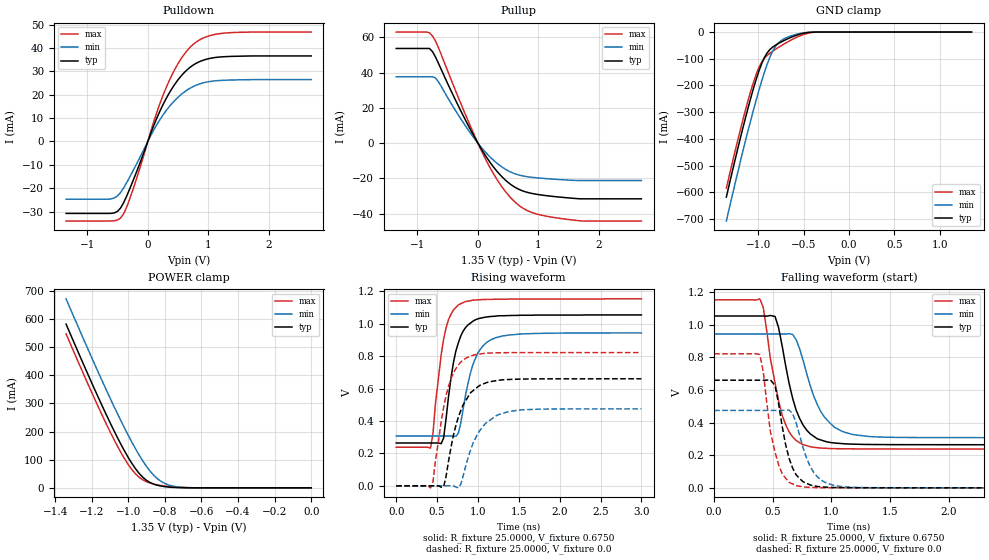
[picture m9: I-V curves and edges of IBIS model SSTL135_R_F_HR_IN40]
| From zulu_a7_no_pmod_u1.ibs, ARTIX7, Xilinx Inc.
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[Model]  SSTL135_R_F_HR_IN40
Model_type I/O
Polarity   Non-Inverting
Enable   Active-Low
Vinl = 0.525
Vinh = 0.825
Vmeas =  0.6750V
Cref =   0.0F
Rref =   25.0000
Vref =   0.6750V
C_comp   7.6500pF   7.4800pF   7.7300pF
[Model Spec]
Vinl   0.585   0.55125   0.61875
Vinh   0.765   0.73125   0.79875
[Temperature Range]   25.0000   85.0000   0.0
[Voltage Range]   1.3500V   1.2825V   1.4175V
[Add Submodel]
| Submodel Name   Mode
IN40_1V35   Non-Driving
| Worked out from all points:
|   slope of the pulldown table from 0 to 0.203 V, typ, clamps not added: 15.4 ohm
|   slope of the pullup table from 0 to 0.203 V, typ, clamps not added: 18.4 ohm
|   GND clamp passes 1 mA (typ) near -0.42 V on its own axis
|   POWER clamp passes 1 mA (typ) near -0.73 V on its own axis
|   rising waveform, R_fixture 25.0000, V_fixture 0.6750: 20-80 % time 158ps typ, 190ps min, 142ps max; typ from 0.264 V to 1.05 V
|   rising waveform, R_fixture 25.0000, V_fixture 0.0: 20-80 % time 220ps typ, 246ps min, 185ps max; typ from 0 V to 0.66 V
|   falling waveform, R_fixture 25.0000, V_fixture 0.6750: 20-80 % time 159ps typ, 195ps min, 145ps max; typ from 1.05 V to 0.264 V
|   falling waveform, R_fixture 25.0000, V_fixture 0.0: 20-80 % time 117ps typ, 142ps min, 113ps max; typ from 0.66 V to 0 V
[Pulldown]
|Voltage   I(typ)   I(min)   I(max)
-1.35V    -30.79mA   -24.69mA   -34.04mA
-600mV    -30.75mA   -24.54mA   -34.02mA
-450mV    -28.49mA   -21.86mA   -32.77mA
-400mV    -26.24mA   -19.93mA   -30.98mA
-300mV    -20.38mA   -15.29mA   -24.68mA
100mV     6.928mA    4.99mA     8.617mA
300mV     18.22mA    13.09mA    22.83mA
550mV     28mA       20.09mA    35.42mA
800mV     33.47mA    24.08mA    42.56mA
1V        35.39mA    25.56mA    45.08mA
1.25V     36.25mA    26.18mA    46.34mA
2.7V      36.6mA     26.46mA    46.83mA
[Pullup]
|Voltage   I(typ)   I(min)   I(max)
-1.35V    53.75mA    37.67mA    63.08mA
-850mV    53.75mA    37.67mA    63.08mA
-800mV    53.75mA    37.67mA    62.6mA
-750mV    51.94mA    37.67mA    60.82mA
-650mV    45.17mA    34.69mA    54.06mA
-250mV    16.1mA     12.06mA    19.82mA
100mV     -5.751mA   -4.173mA   -7.293mA
400mV     -19.18mA   -13.6mA    -24.97mA
700mV     -26.56mA   -18.28mA   -35.88mA
1V        -29.18mA   -19.76mA   -40.48mA
1.55V     -31.22mA   -21.06mA   -43.55mA
2.7V      -31.59mA   -21.19mA   -44.18mA
[GND_clamp]
|Voltage   I(typ)   I(min)   I(max)
-1.35V    -617.9mA   -707.4mA   -584.6mA
-1.23V    -445mA     -533.4mA   -413mA
-1.14V    -322.4mA   -408.3mA   -292.6mA
-1.08V    -245.7mA   -328.8mA   -219.5mA
-1.02V    -175.8mA   -253.2mA   -157.1mA
-960mV    -117.6mA   -182.5mA   -112.3mA
-900mV    -77.8mA    -120.3mA   -87.39mA
-840mV    -56.59mA   -71.85mA   -71.8mA
-750mV    -37.97mA   -32.77mA   -52.11mA
-570mV    -11.08mA   -7.832mA   -18.89mA
-390mV    -398uA     -340.7uA   -1.295mA
1.35V     7.295nA    86.39nA    6.229nA
[POWER_clamp]
|Voltage   I(typ)   I(min)   I(max)
-1.34V    582.1mA    671.9mA    547.4mA
-1.24V    432.2mA    522mA      397.7mA
-1.14V    287.7mA    376.3mA    254.3mA
-1.08V    205.7mA    292.1mA    174.1mA
-1.02V    130.4mA    212mA      103mA
-960mV    67.49mA    138.3mA    49.51mA
-920mV    37.23mA    94.99mA    28.16mA
-880mV    18.51mA    58.79mA    16.73mA
-840mV    8.917mA    32.05mA    10.55mA
-780mV    2.85mA     10.38mA    4.974mA
-700mV    426.8uA    1.685mA    1.091mA
0V        7.296nA    75.45nA    7.466nA
[Ramp]
| variable   typ   min   max
dV/dt_r  0.3961/0.2201n   0.2848/0.2465n   0.4931/0.1761n
dV/dt_f  0.4447/0.2004n   0.3435/0.2344n   0.5255/0.1766n
R_load = 25.0000
[Rising Waveform]
R_fixture= 25.0000
V_fixture= 0.6750
V_fixture_min= 0.6412
V_fixture_max= 0.7087
|time   V(typ)   V(min)   V(max)
0s        264.1mV    307.5mV    237.9mV
420ps     264.1mV    307.5mV    232.4mV
450ps     264.1mV    307.5mV    321.3mV
480ps     264.2mV    307.5mV    506.9mV
580ps     294.8mV    307.5mV    903.6mV
670ps     663.7mV    307.5mV    1.058V
760ps     881.6mV    323.7mV    1.116V
940ps     1.016V     750.4mV    1.145V
1.15ns    1.044V     898.4mV    1.15V
3ns       1.054V     943.1mV    1.153V
[Rising Waveform]
R_fixture= 25.0000
V_fixture= 0.0
|time   V(typ)   V(min)   V(max)
0s        0V         0V         0V
420ps     5.718uV    4.088uV    -12.53mV
450ps     -18.05uV   7.083uV    25.1mV
580ps     -7.057mV   3.113uV    482.5mV
640ps     151.9mV    42.31uV    614.2mV
760ps     423mV      -12.35mV   745mV
850ps     525mV      120.6mV    786mV
1ns       611.2mV    324.2mV    811.3mV
1.24ns    649.8mV    437mV      820.5mV
3ns       660.1mV    474.6mV    821.8mV
[Falling Waveform]
R_fixture= 25.0000
V_fixture= 0.6750
V_fixture_min= 0.6412
V_fixture_max= 0.7087
|time   V(typ)   V(min)   V(max)
0s        1.054V     943.2mV    1.153V
390ps     1.054V     943.2mV    1.159V
420ps     1.054V     943.2mV    1.105V
520ps     1.051V     943.2mV    645.3mV
580ps     873.2mV    943.1mV    446.3mV
670ps     549.4mV    940.9mV    312.8mV
760ps     383.8mV    779.8mV    264.7mV
910ps     293.8mV    468mV      244mV
1.12ns    269.8mV    339.8mV    239.5mV
3ns       264.3mV    307.8mV    238mV
[Falling Waveform]
R_fixture= 25.0000
V_fixture= 0.0
|time   V(typ)   V(min)   V(max)
0s        660.2mV    474.8mV    821.9mV
390ps     660.2mV    474.8mV    817.6mV
420ps     660.1mV    474.8mV    709.6mV
480ps     663mV      474.8mV    345.2mV
520ps     627.5mV    474.8mV    218.8mV
610ps     265.4mV    476.2mV    59.46mV
700ps     80.04mV    397.9mV    13.56mV
850ps     12.3mV     94.08mV    2.076mV
1.03ns    2.079mV    14.17mV    612.7uV
3ns       125.6uV    177.8uV    77.84uV
